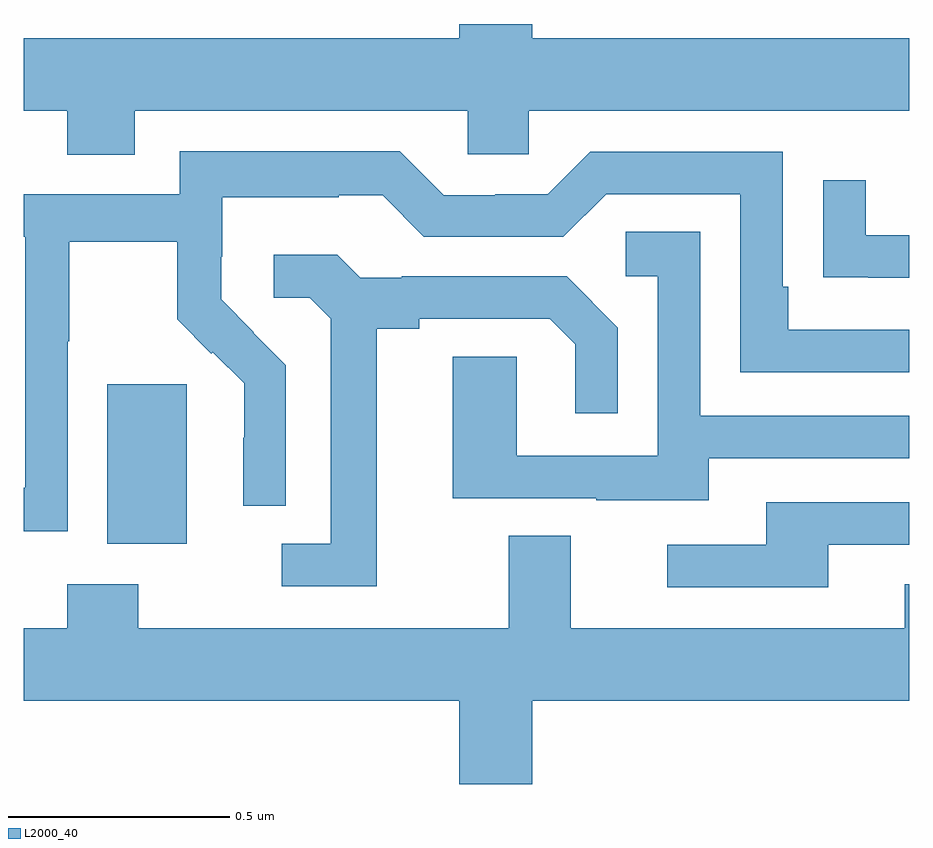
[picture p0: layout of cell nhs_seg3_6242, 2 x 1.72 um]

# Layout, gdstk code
import gdstk
lib = gdstk.Library(unit=1e-6, precision=1e-09)
def R(c, l, rs):  # rectangles x0, y0, x1, y1
    for r in rs: c.add(gdstk.rectangle(r[:2], r[2:], *l))
def P(c, l, *ps):  # polygons
    for p in ps: c.add(gdstk.Polygon(p, *l))
L2000_40 = (2000, 40)

nhs_seg3_6242 = lib.new_cell('nhs_seg3_6242')
R(nhs_seg3_6242, L2000_40, [(188.189,745.226,188.368,745.587)])
P(nhs_seg3_6242, L2000_40, [(188.251,746.204),(189.003,746.204),(189.003,746.106),(189.141,746.106),(189.141,746.204),(190,746.204),(190,746.368),(189.148,746.368),(189.148,746.4),(188.984,746.4),(188.984,746.368),(188,746.368),(188,746.204),(188.099,746.204),(188.099,746.105),(188.251,746.105)],
  [(188.1,745.684),(188.103,745.684),(188.103,745.908),(188.347,745.908),(188.347,745.733),(188.424,745.656),(188.427,745.659),(188.498,745.589),(188.498,745.466),(188.496,745.466),(188.496,745.312),(188.592,745.312),(188.592,745.63),(188.519,745.703),(188.52,745.704),(188.446,745.778),(188.446,745.875),(188.448,745.875),(188.448,746.009),(188.711,746.009),(188.711,746.013),(188.811,746.013),(188.904,745.92),(189.219,745.92),(189.315,746.016),(189.618,746.016),(189.618,745.614),(190,745.614),(190,745.71),(189.727,745.71),(189.727,745.807),(189.714,745.807),(189.714,746.112),(189.279,746.112),(189.183,746.016),(189.065,746.016),(189.065,746.013),(188.949,746.013),(188.849,746.113),(188.352,746.113),(188.352,746.016),(188,746.016),(188,745.92),(188.004,745.92),(188.004,745.353),(188,745.353),(188,745.255),(188.1,745.255)],
  [(190,745.923),(189.901,745.923),(189.901,746.047),(189.805,746.047),(189.805,745.828),(189.907,745.828),(189.907,745.827),(190,745.827)],
  [(189.547,745.419),(190,745.419),(190,745.515),(189.528,745.515),(189.528,745.931),(189.36,745.931),(189.36,745.83),(189.432,745.83),(189.432,745.425),(189.114,745.425),(189.114,745.649),(188.969,745.649),(188.969,745.329),(189.293,745.329),(189.293,745.325),(189.547,745.325)],
  [(188.797,745.712),(188.893,745.712),(188.893,745.734),(189.188,745.734),(189.245,745.677),(189.245,745.521),(189.342,745.521),(189.342,745.714),(189.226,745.83),(188.854,745.83),(188.854,745.827),(188.76,745.827),(188.708,745.879),(188.565,745.879),(188.565,745.782),(188.646,745.782),(188.693,745.735),(188.693,745.227),(188.583,745.227),(188.583,745.131),(188.797,745.131)],
  [(189.817,745.224),(190,745.224),(190,745.32),(189.677,745.32),(189.677,745.224),(189.453,745.224),(189.453,745.128),(189.817,745.128)],
  [(189.148,744.872),(190,744.872),(190,745.135),(189.989,745.135),(189.989,745.036),(189.235,745.036),(189.235,745.244),(189.095,745.244),(189.095,745.036),(188.259,745.036),(188.259,745.135),(188.099,745.135),(188.099,745.036),(188,745.036),(188,744.872),(188.984,744.872),(188.984,744.684),(189.148,744.684)])

lib.write_gds('nhs_seg3_6242.gds')
